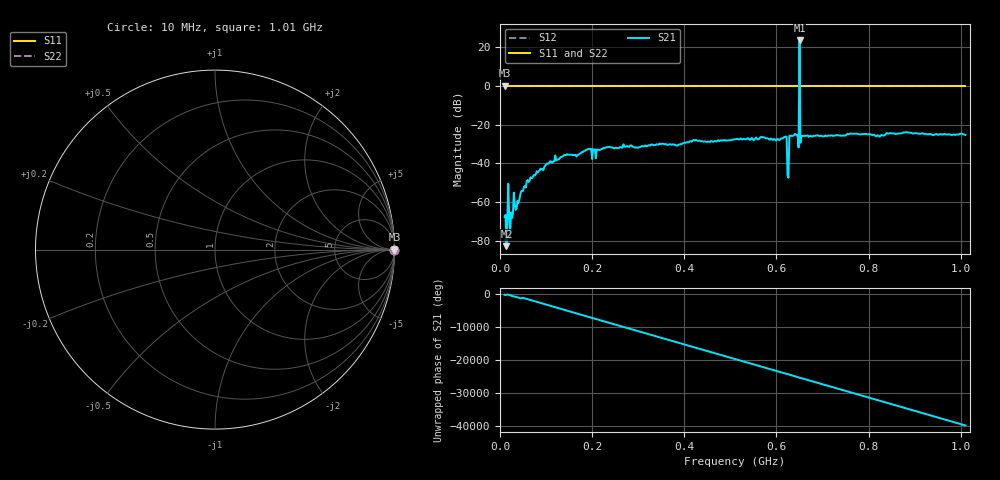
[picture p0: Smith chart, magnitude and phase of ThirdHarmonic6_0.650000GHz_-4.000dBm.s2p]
! 8/15/2025 9:33:08 PM
! C:\ANRITSUVNA\TEMP\TEMP.S2P
! CHANNEL.1
! TR.MEASUREMENT
! RAW.DATA
! RF.CORRECTION.OFF
! AVERAGING.OFF
! IF.BANDWIDTH: 5KHZ
! SWEEPTYPE:  FREQ.SWEEP(Linear)
! Reference Plane Port Info
! PORT:  PORT1  PORT2
! DISTANCE:  0  m  0  m
! TIME:  0  s  0  s
! PHASE.OFFSET:  0  deg.  0  deg.
! LOSS:  0  dB  0  dB
! REF.LOSS:  0  dB  0  dB
! REF.FREQ:  0  Hz  0  Hz
! Power Info
! POWER:  -20  dBm  -20  dBm
! EFF.POWER:  -20  dBm  -20  dBm
! SOURCE.ATTEN:  0  dB  0  dB
! TEST.ATTEN:  0  dB  0  dB
# GHZ S RI R 50.0
! FREQ.GHZ  S11RE  S11IM  S21RE  S21IM  S12RE  S12IM  S22RE  S22IM
!; PortSelection: Port_12
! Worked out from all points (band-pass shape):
!   501 points, 10 MHz to 1.01 GHz, reference 50 ohm
!   highest |S21| = 23.37 dB at 650 MHz (marker M1); lowest = -82.6 dB at 14 MHz (marker M2)
!   |S21| within 3 dB of the highest: 649.8911 MHz to 650.1138 MHz (222.7 kHz wide, 0.0343 % of centre)
!   lowest |S11| = 0.0 dB at 10 MHz (marker M3)
!   |S11| at or under -10 dB: nowhere
!   |S22| runs from 0.0 to 0.0 dB; largest |S21 - S12| = 16
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0.01  1 0  -0.000407 -0.000103  1 0  1 0
0.014  1 0  -7.21e-05 -1.73e-05  1 0  1 0
0.022  1 0  8.57e-05 8.89e-05  1 0  1 0
0.024  1 0  0.000423 -0.000346  1 0  1 0
0.028  1 0  -0.000304 0.000401  1 0  1 0
0.05  1 0  0.00192 -0.000411  1 0  1 0
0.084  1 0  0.00485 0.00409  1 0  1 0
0.178  1 0  -0.0193 -0.0037  1 0  1 0
0.344  1 0  0.0295 -0.00801  1 0  1 0
0.51  1 0  -0.0381 0.0175  1 0  1 0
0.618  1 0  -0.0369 0.0305  1 0  1 0
0.622  1 0  0.0451 -0.0189  1 0  1 0
0.628  1 0  -0.00445 0.0511  1 0  1 0
0.632  1 0  0.0199 -0.0476  1 0  1 0
0.644  1 0  -0.0517 0.0103  1 0  1 0
0.646  1 0  0.00274 0.0545  1 0  1 0
0.65  1 0  -12.72 -7.452  1 0  1 0
0.654  1 0  -0.0287 0.0412  1 0  1 0
0.656  1 0  0.0357 0.0363  1 0  1 0
0.678  1 0  -0.0278 -0.0407  1 0  1 0
0.844  1 0  0.0464 0.0355  1 0  1 0
1.01  1 0  -0.054 -0.00573  1 0  1 0
